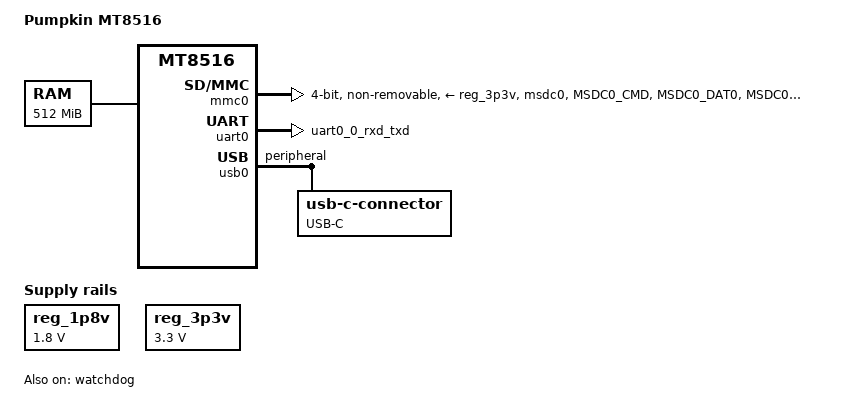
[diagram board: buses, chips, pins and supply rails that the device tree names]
// SPDX-License-Identifier: GPL-2.0 OR MIT
/*
 * Copyright (C) 2019 BayLibre SAS.
 * Author: Fabien Parent <fparent@baylibre.com>
 */

/dts-v1/;

#include <config.h>
#include "mt8516.dtsi"

/ {
	model = "Pumpkin MT8516";

	chosen {
		stdout-path = &uart0;
	};

	memory@40000000 {
		device_type = "memory";
		reg = <0x40000000 0x20000000>;
	};

	reserved-memory {
		#address-cells = <2>;
		#size-cells = <2>;

		/* 128 KiB reserved for ARM Trusted Firmware (BL31) */
		bl31_secmon_reserved: secmon@43000000 {
			no-map;
			reg = <0 0x43000000 0 0x20000>;
		};
	};

	reg_1p8v: regulator-1p8v {
		compatible = "regulator-fixed";
		regulator-name = "fixed-1.8V";
		regulator-min-microvolt = <1800000>;
		regulator-max-microvolt = <1800000>;
		regulator-boot-on;
		regulator-always-on;
	};

	reg_3p3v: regulator-3p3v {
		compatible = "regulator-fixed";
		regulator-name = "fixed-3.3V";
		regulator-min-microvolt = <3300000>;
		regulator-max-microvolt = <3300000>;
		regulator-boot-on;
		regulator-always-on;
	};
};

&mmc0 {
	pinctrl-names = "default";
	pinctrl-0 = <&mmc0_pins_default>;
	bus-width = <4>;
	max-frequency = <200000000>;
	cap-mmc-highspeed;
	mmc-hs200-1_8v;
	cap-mmc-hw-reset;
	vmmc-supply = <&reg_3p3v>;
	vqmmc-supply = <&reg_1p8v>;
	non-removable;
	status = "okay";
};

&pinctrl {
	mmc0_pins_default: mmc0default {
		mux {
			function = "msdc";
			groups =  "msdc0";
		};

		conf-cmd-data {
			pins = "MSDC0_CMD", "MSDC0_DAT0", "MSDC0_DAT1",
			       "MSDC0_DAT2", "MSDC0_DAT3", "MSDC0_DAT4",
			       "MSDC0_DAT5", "MSDC0_DAT6", "MSDC0_DAT7";
			input-enable;
			bias-pull-up;
		};

		conf-clk {
			pins = "MSDC0_CLK";
			bias-pull-down;
		};

		conf-rst {
			pins = "MSDC0_RSTB";
			bias-pull-up;
		};
	};

	uart0_pins: uart0 {
		mux {
			function = "uart";
			groups = "uart0_0_rxd_txd";
		};
	};
};

&uart0 {
	pinctrl-names = "default";
	pinctrl-0 = <&uart0_pins>;
	status = "okay";
};

&watchdog {
	status = "okay";
};

&usb0 {
	status = "okay";
	dr_mode = "peripheral";

	usb_con_c: connector {
		compatible = "usb-c-connector";
		label = "USB-C";
	};
};
